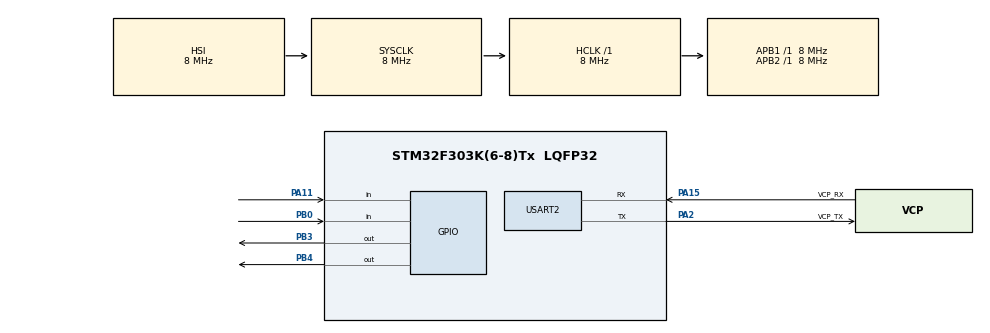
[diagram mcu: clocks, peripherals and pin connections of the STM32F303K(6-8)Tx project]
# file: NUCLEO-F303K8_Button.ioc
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Mcu.Family=STM32F3
Mcu.Name=STM32F303K(6-8)Tx
Mcu.Package=LQFP32
NVIC.PriorityGroup=NVIC_PRIORITYGROUP_4
PA11.GPIO_PuPd=GPIO_PULLUP
PA11.Signal=GPIO_Input
PA13.GPIO_Label=SWDIO
PA13.Mode=Serial_Wire
PA13.Signal=SYS_JTMS-SWDIO
PA14.GPIO_Label=SWCLK
PA14.Mode=Serial_Wire
PA14.Signal=SYS_JTCK-SWCLK
PA15.GPIO_Label=VCP_RX
PA15.Mode=Asynchronous
PA15.Signal=USART2_RX
PA2.GPIO_Label=VCP_TX
PA2.Mode=Asynchronous
PA2.Signal=USART2_TX
PB0.GPIO_PuPd=GPIO_PULLUP
PB0.Signal=GPIO_Input
PB3.Signal=GPIO_Output
PB4.Signal=GPIO_Output
PF0\ /\ OSC_IN.GPIO_Label=MCO
PF0\ /\ OSC_IN.Mode=HSE-External-Clock-Source
PF0\ /\ OSC_IN.Signal=RCC_OSC_IN
ProjectManager.HeapSize=0x200
ProjectManager.StackSize=0x400
ProjectManager.TargetToolchain=STM32CubeIDE
RCC.AHBFreq_Value=8000000
RCC.APB1Freq_Value=8000000
RCC.APB2Freq_Value=8000000
RCC.CortexFreq_Value=8000000
RCC.HSE_VALUE=8000000
RCC.HSI_VALUE=8000000
RCC.SYSCLKFreq_VALUE=8000000
USART2.VirtualMode-Asynchronous=VM_ASYNC
board=NUCLEO-F303K8

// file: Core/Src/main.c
/* USER CODE BEGIN Header */
/**
 ******************************************************************************
 * @file           : main.c
 * @brief          : Main program body
 ******************************************************************************
 * @attention
 *
 * <h2><center>&copy; Copyright (c) 2021 STMicroelectronics.
 * All rights reserved.</center></h2>
 *
 * This software component is licensed by ST under BSD 3-Clause license,
 * the "License"; You may not use this file except in compliance with the
 * License. You may obtain a copy of the License at:
 *                        opensource.org/licenses/BSD-3-Clause
 *
 ******************************************************************************
 */
/* USER CODE END Header */
#include "main.h"

/* USER CODE BEGIN Includes */
#include "Button_STM32.h"

/* USER CODE END Includes */

UART_HandleTypeDef huart2;

void SystemClock_Config(void);
static void MX_GPIO_Init(void);
static void MX_USART2_UART_Init(void);

int main(void) {

	/* MCU Configuration--------------------------------------------------------*/

	/* Reset of all peripherals, Initializes the Flash interface and the Systick. */
	HAL_Init();

	/* Configure the system clock */
	SystemClock_Config();

	/* Initialize all configured peripherals */
	MX_GPIO_Init();
	MX_USART2_UART_Init();
	/* USER CODE BEGIN 2 */
	Button_Init(0, GPIOB, GPIO_PIN_0);
	Button_Init(1, GPIOA, GPIO_PIN_11);
	/* USER CODE END 2 */

	/* Infinite loop */
	while (1) {

		/* USER CODE BEGIN 3 */
		if (Button_Loop(0) == BUTTON_CLICKED) {
			Button_Init(0, GPIOB, GPIO_PIN_0);
			HAL_GPIO_WritePin(GPIOB, GPIO_PIN_3, 0);
			HAL_Delay(100);
			HAL_GPIO_WritePin(GPIOB, GPIO_PIN_3, 1);
			HAL_Delay(100);
			HAL_GPIO_WritePin(GPIOB, GPIO_PIN_3, 0);
			HAL_Delay(100);
		}
		if (Button_Loop(1) == BUTTON_CLICKED) {
			Button_Init(1, GPIOA, GPIO_PIN_11);
			HAL_GPIO_WritePin(GPIOB, GPIO_PIN_3, 0);
			HAL_Delay(100);
			HAL_GPIO_WritePin(GPIOB, GPIO_PIN_3, 1);
			HAL_Delay(100);
			HAL_GPIO_WritePin(GPIOB, GPIO_PIN_3, 0);
			HAL_Delay(100);
			HAL_GPIO_WritePin(GPIOB, GPIO_PIN_3, 1);
			HAL_Delay(100);
			HAL_GPIO_WritePin(GPIOB, GPIO_PIN_3, 0);
			HAL_Delay(100);
		}
	}
	/* USER CODE END 3 */
}

void SystemClock_Config(void) {
	RCC_OscInitTypeDef RCC_OscInitStruct = { 0 };
	RCC_ClkInitTypeDef RCC_ClkInitStruct = { 0 };

	/** Initializes the RCC Oscillators according to the specified parameters
	 * in the RCC_OscInitTypeDef structure.
	 */
	RCC_OscInitStruct.OscillatorType = RCC_OSCILLATORTYPE_HSI;
	RCC_OscInitStruct.HSIState = RCC_HSI_ON;
	RCC_OscInitStruct.HSICalibrationValue = RCC_HSICALIBRATION_DEFAULT;
	RCC_OscInitStruct.PLL.PLLState = RCC_PLL_NONE;
	if (HAL_RCC_OscConfig(&RCC_OscInitStruct) != HAL_OK) {
		Error_Handler();
	}
	/** Initializes the CPU, AHB and APB buses clocks
	 */
	RCC_ClkInitStruct.ClockType = RCC_CLOCKTYPE_HCLK | RCC_CLOCKTYPE_SYSCLK
			| RCC_CLOCKTYPE_PCLK1 | RCC_CLOCKTYPE_PCLK2;
	RCC_ClkInitStruct.SYSCLKSource = RCC_SYSCLKSOURCE_HSI;
	RCC_ClkInitStruct.AHBCLKDivider = RCC_SYSCLK_DIV1;
	RCC_ClkInitStruct.APB1CLKDivider = RCC_HCLK_DIV1;
	RCC_ClkInitStruct.APB2CLKDivider = RCC_HCLK_DIV1;

	if (HAL_RCC_ClockConfig(&RCC_ClkInitStruct, FLASH_LATENCY_0) != HAL_OK) {
		Error_Handler();
	}
}

static void MX_USART2_UART_Init(void) {

	huart2.Instance = USART2;
	huart2.Init.BaudRate = 38400;
	huart2.Init.WordLength = UART_WORDLENGTH_8B;
	huart2.Init.StopBits = UART_STOPBITS_1;
	huart2.Init.Parity = UART_PARITY_NONE;
	huart2.Init.Mode = UART_MODE_TX_RX;
	huart2.Init.HwFlowCtl = UART_HWCONTROL_NONE;
	huart2.Init.OverSampling = UART_OVERSAMPLING_16;
	huart2.Init.OneBitSampling = UART_ONE_BIT_SAMPLE_DISABLE;
	huart2.AdvancedInit.AdvFeatureInit = UART_ADVFEATURE_NO_INIT;
	if (HAL_UART_Init(&huart2) != HAL_OK) {
		Error_Handler();
	}

}

static void MX_GPIO_Init(void) {
	GPIO_InitTypeDef GPIO_InitStruct = { 0 };

	/* GPIO Ports Clock Enable */
	__HAL_RCC_GPIOF_CLK_ENABLE();
	__HAL_RCC_GPIOA_CLK_ENABLE();
	__HAL_RCC_GPIOB_CLK_ENABLE();

	/*Configure GPIO pin Output Level */
	HAL_GPIO_WritePin(GPIOB, GPIO_PIN_3 | GPIO_PIN_4, GPIO_PIN_RESET);

	/*Configure GPIO pin : PB0 */
	GPIO_InitStruct.Pin = GPIO_PIN_0;
	GPIO_InitStruct.Mode = GPIO_MODE_INPUT;
	GPIO_InitStruct.Pull = GPIO_PULLUP;
	HAL_GPIO_Init(GPIOB, &GPIO_InitStruct);

	/*Configure GPIO pin : PA11 */
	GPIO_InitStruct.Pin = GPIO_PIN_11;
	GPIO_InitStruct.Mode = GPIO_MODE_INPUT;
	GPIO_InitStruct.Pull = GPIO_PULLUP;
	HAL_GPIO_Init(GPIOA, &GPIO_InitStruct);

	/*Configure GPIO pins : PB3 PB4 */
	GPIO_InitStruct.Pin = GPIO_PIN_3 | GPIO_PIN_4;
	GPIO_InitStruct.Mode = GPIO_MODE_OUTPUT_PP;
	GPIO_InitStruct.Pull = GPIO_NOPULL;
	GPIO_InitStruct.Speed = GPIO_SPEED_FREQ_LOW;
	HAL_GPIO_Init(GPIOB, &GPIO_InitStruct);

}

void Error_Handler(void) {
	__disable_irq();
	while (1) {
	}
}

/************************ (C) COPYRIGHT STMicroelectronics *****END OF FILE****/
